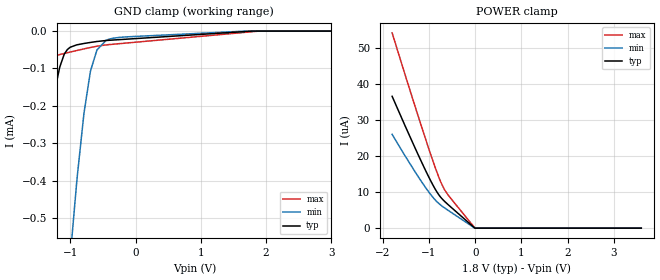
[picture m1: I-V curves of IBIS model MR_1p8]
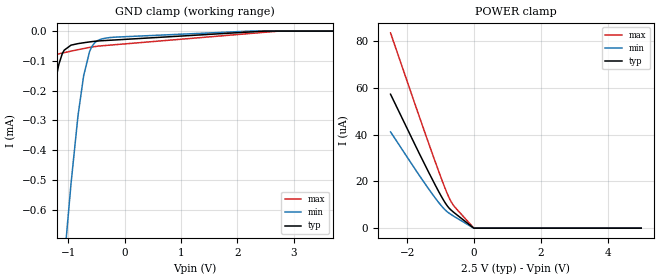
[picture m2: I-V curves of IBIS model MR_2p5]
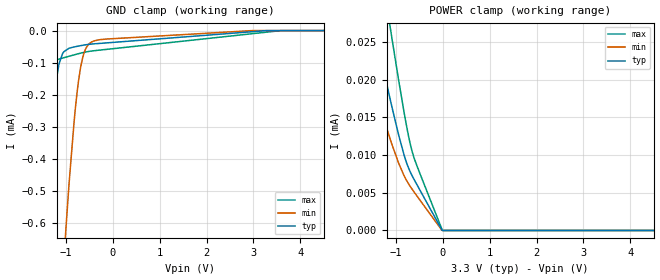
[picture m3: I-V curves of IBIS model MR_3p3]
| Texas Instruments Incorporated
| Low Quiescent Current, Programmable-Delay Supervisory Circuit
| Marketing part#   Voltage Range   Package-type   #pins/pkg drawing
| TPS3808DRV   1.7V - 5.5V   SON   6-pin DRV
| TPS3808DBV   1.7V - 5.5V   SOT   6-pin DBV
[IBIS Ver]   4.1
[File name]   tps3808.ibs
[File Rev]   1.0
[Date]   06/13/2017
[Source]   Model built from spectre simulations at:
   Texas Instruments Incorporated.
   Analog-eLab, HPA
   12500 TI Blvd
   Dallas, TX -75243
   For Support e-mail: elab_ibis@list.ti.com
[Notes]   Revision History
   Rev 1.1: 06/13/2017
   - Add 1.8, 3.3 and 5V models.
   Rev 1.0: 05/20/2014
   - ccomp values are based on PVT settings:
   MIN: Low Voltage, High Temperature, Weak Process
   TYP: Nominal Voltage, Nominal Temperature, Nominal Process
   MAX: High Voltage, Low Temperature, Fast Process
   - C_comp although listed in numerical order of value are obtained from varying PVT conditions.
   For PVT conditions for each specific value, refer to the buffer description under respective [Model].
   IBIS model user is responsible for using appropriate C_comp to simulate for Signal Integrity.
[Disclaimer]  This model is designed as an aid for customers of Texas Instruments
 TI and its licensors and suppliers make no warranties, either expressed
 or implied, with respect to this  model, including the warranties of
 merchantability or fitness for a particular purpose.
 The model is provided solely on an "as is" basis. The entire risk as to
 its quality and performance is with the customer.
[Copyright] (C)Copyright 2017 Texas Instruments Incorporated.
   All rights reserved.
[Component]   TPS3808DRV
[Manufacturer]  Texas Instruments Incorporated
[Package]   |6-pin SON DRV package
|   typ   min   max
R_pkg   0.053   0.052   0.056
L_pkg   0.757n   0.733n   0.813n
C_pkg   0.131p   0.126p   0.142p
[Pin]   signal_name   model_name   R_pin   L_pin   C_pin
1   VDD   POWER   0.05201  0.74622n  0.12846p
2   SENSE   MR   0.05593  0.81272n  0.14196p
3   CT   NC   0.05192  0.74450n  0.12612p
4   MRB   MR   0.05357  0.76524n  0.12899p
5   GND   GND   0.05173  0.73298n  0.13661p
6   RESETB   Outbuf   0.05207  0.73920n  0.12677p
[Component]   TPS3808DBV
[Manufacturer]  Texas Instruments Incorporated
[Package]   |6-pin SOT DBV package
|   typ   min   max
R_pkg   0.028   0.003   0.036
L_pkg   1.631n   1.070n   1.910n
C_pkg   0.308p   0.270p   0.436p
[Pin]   signal_name   model_name   R_pin   L_pin   C_pin
1   RESETB   Outbuf   0.03020   1.57055n   0.26977p
2   GND   GND   0.00256   1.06977n   0.43550p
3   MRB   MR   0.03342   1.65875n   0.27718p
4   CT   NC   0.03545   1.90024n   0.29053p
5   SENSE   MR   0.03308   1.67391n   0.28829p
6   VDD   POWER   0.03576   1.90996n   0.28899p
[Model Selector]   MR
MR_1p8   MR Input, 1.8V nominal
MR_2p5   MR Input, 2.5V nominal
MR_3p3   MR Input, 3.3V nominal
MR_5p0   MR Input, 5.0V nominal
[Model Selector]   Outbuf
Outbuf_1p8   Outbuf open-drain output , 1.8V nominal
Outbuf_2p5   Outbuf open-drain output , 2.5V nominal
Outbuf_3p3   Outbuf open-drain output , 3.3V nominal
Outbuf_5p0   Outbuf open-drain output , 5.0V nominal
| Models and submodels in the file (8): MR_1p8 (Input), MR_2p5 (Input), MR_3p3 (Input), MR_5p0 (Input), Outbuf_1p8 (Open_drain), Outbuf_2p5 (Open_drain), Outbuf_3p3 (Open_drain), Outbuf_5p0 (Open_drain)
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|   Model MR_1p8 Input buffer
[Model]   MR_1p8
Model_type   Input
Vinl = 0.51
Vinh = 1.33
|   typ   min   max
|   (nom PVT)   (fast PVT)   (slow PVT)
C_comp   16.66p   15.533p   17.56p
| Where   nom PVT is  Nominal Process, 1.8V, 27C
|   Fast PVT is Strong Process, 1.9V, -40C
|   Slow PVT is Weak Process, 1.7V, 125C
[Voltage Range]   1.8   1.7   1.9
[Temperature Range]   27   150   -40
[Power Clamp Reference]   1.8   1.7   1.9
[GND Clamp Reference]   -0   -0   -0
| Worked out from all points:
|   GND clamp passes 1 mA (typ) near -1.79 V on its own axis
[GND Clamp]
|   Voltage   I(typ)   I(min)   I(max)
-1.8V     -1.013mA   -2.556mA   -582.4uA
-1.519V   -551.4uA   -1.842mA   -217.9uA
-1.395V   -364uA     -1.532mA   -107.8uA
-1.271V   -200.5uA   -1.227mA   -69.86uA
-1.168V   -102uA     -981.9uA   -63.07uA
-1.001V   -43.2uA    -604.7uA   -56.01uA
-903.6mV  -36.97uA   -408.9uA   -52.09uA
-790.2mV  -33.16uA   -220.1uA   -47.62uA
-693mV    -30.42uA   -109.7uA   -43.95uA
-590.4mV  -27.8uA    -50.17uA   -40.42uA
-450mV    -25.19uA   -24.63uA   -36.91uA
3.595V    0A         0A         0A
[POWER Clamp]
|   Voltage   I(typ)   I(min)   I(max)
-1.8V     36.59uA    26.03uA    54.19uA
-1.303V   22.25uA    15.64uA    33.79uA
-1.049V   15.31uA    10.78uA    23.71uA
-865.8mV  10.8uA     7.818uA    16.79uA
-747mV    8.55uA     6.404uA    12.82uA
-671.4mV  7.513uA    5.677uA    10.81uA
-595.8mV  6.622uA    5.007uA    9.34uA
-7.2mV    26.47nA    14.01nA    29.16nA
3.595V    0A         0A         0A
|   Model MR_2p5 Input buffer
[Model]   MR_2p5
Model_type   Input
Vinl = .675
Vinh = 1.925
|   typ   min   max
|   (nom PVT)   (fast PVT)   (slow PVT)
C_comp   16.66p   15.533p   17.56p
| Where   nom PVT is  Nominal Process, 2.5V, 27C
|   Fast PVT is Strong Process, 2.75V, -40C
|   Slow PVT is Weak Process, 2.25V, 125C
[Voltage Range]   2.5   2.25   2.75
[Temperature Range]   27   150   -40
[Power Clamp Reference]   2.5   2.25   2.75
[GND Clamp Reference]   -0   -0   -0
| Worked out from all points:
|   GND clamp passes 1 mA (typ) near -1.79 V on its own axis
[GND Clamp]
|   Voltage   I(typ)   I(min)   I(max)
-2.5V     -2.253mA   -4.371mA   -1.644mA
-2.065V   -1.478mA   -3.242mA   -980.7uA
-1.802V   -1.025mA   -2.567mA   -599uA
-1.593V   -675.9uA   -2.032mA   -317.5uA
-1.427V   -419.2uA   -1.617mA   -143.5uA
-1.262V   -198.8uA   -1.212mA   -82.29uA
-1.075V   -64.13uA   -772uA     -72.34uA
-955mV    -47.3uA    -514.2uA   -67.45uA
-730mV    -39.22uA   -149.8uA   -58.63uA
-610mV    -36.06uA   -62.3uA    -54.35uA
-452.5mV  -33.02uA   -29.39uA   -50.27uA
4.992V    0A         0A         0A
[POWER Clamp]
|   Voltage   I(typ)   I(min)   I(max)
-2.5V     57.36uA    41.23uA    83.63uA
-1.337V   23.29uA    16.33uA    35.39uA
-1V       14.08uA    9.903uA    21.98uA
-797.5mV  9.421uA    6.935uA    14.56uA
-707.5mV  7.967uA    5.991uA    11.78uA
-610mV    6.763uA    5.106uA    9.584uA
-10mV     42.07nA    21.79nA    51.67nA
4.992V    0A         0A         0A
|   Model MR_3p3 Input buffer
[Model]   MR_3p3
Model_type   Input
Vinl = .9
Vinh = 2.52
|   typ   min   max
|   (nom PVT)   (fast PVT)   (slow PVT)
C_comp   16.66p   15.533p   17.56p
| Where   nom PVT is  Nominal Process, 3.3V, 27C
|   Fast PVT is Strong Process, 3.6V, -40C
|   Slow PVT is Weak Process, 3.0V, 125C
[Voltage Range]   3.3   3   3.6
[Temperature Range]   27   150   -40
[Power Clamp Reference]   3.3   3   3.6
[GND Clamp Reference]   -0   -0   -0
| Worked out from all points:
|   GND clamp passes 1 mA (typ) near -1.78 V on its own axis
[GND Clamp]
|   Voltage   I(typ)   I(min)   I(max)
-3.3V     -3.734mA   -6.479mA   -2.934mA
-1.795V   -1.021mA   -2.555mA   -601.9uA
-1.538V   -597.4uA   -1.9mA     -265.4uA
-1.419V   -415.5uA   -1.603mA   -150.3uA
-1.241V   -183.9uA   -1.166mA   -93.72uA
-1.043V   -65.66uA   -706.6uA   -84.3uA
-933.9mV  -54.99uA   -478.3uA   -79.89uA
-795.3mV  -49.98uA   -238.2uA   -74.41uA
-696.3mV  -47.19uA   -123.3uA   -70.66uA
-587.4mV  -44.43uA   -59.92uA   -66.92uA
-419.1mV  -41.5uA    -33.33uA   -62.97uA
6.59V     0A         0A         0A
[POWER Clamp]
|   Voltage   I(typ)   I(min)   I(max)
-3.3V     81.42uA    58.97uA    117.6uA
-1.914V   40.06uA    28.45uA    59.33uA
-1.617V   31.39uA    22.13uA    47.04uA
-1.528V   28.82uA    20.26uA    43.37uA
-1.34V    23.44uA    16.39uA    35.69uA
-1.112V   17.11uA    11.93uA    26.55uA
-825mV    9.985uA    7.253uA    15.63uA
-735.9mV  8.374uA    6.249uA    12.68uA
-666.6mV  7.418uA    5.587uA    10.78uA
-557.7mV  6.141uA    4.628uA    8.672uA
-13.2mV   11.17nA    33.98nA    78.53nA
6.59V     0A         0A         0A
